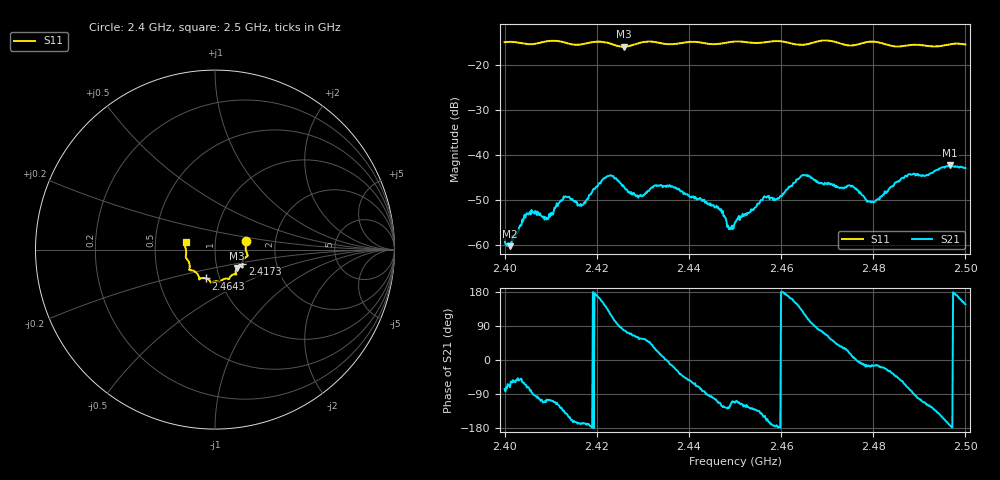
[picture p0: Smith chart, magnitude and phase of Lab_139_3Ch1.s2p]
# Hz S RI R 50
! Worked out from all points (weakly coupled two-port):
!   601 points, 2.4 GHz to 2.5 GHz, reference 50 ohm
!   highest |S21| = -42.37 dB at 2.4967 GHz (marker M1); lowest = -60.4 dB at 2.4012 GHz (marker M2)
!   lowest |S11| = -15.9 dB at 2.4258 GHz (marker M3), VSWR 1.38, Z = 62.3 - j13.2 ohm
!   |S11| at or under -10 dB: start of sweep to end of sweep
!   S12 and S22 are empty: the file has one direction only
!   S11 on the Smith chart (normalised r, x): 2.4 GHz: 1.41, +0.14; 2.4173 GHz: 1.34, -0.23; 2.4643 GHz: 0.86, -0.28; 2.5 GHz: 0.72, +0.06
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2.4e9  0.1732 0.049  0.000258 -0.0011  0 0  0 0
2.401167e9  0.176 0.0444  0.000299 -0.000911  0 0  0 0
2.405333e9  0.1709 0.00987  0.000622 -0.00216  0 0  0 0
2.409167e9  0.1817 -0.0302  -0.000468 -0.00184  0 0  0 0
2.413333e9  0.1715 -0.0425  -0.00266 -0.00217  0 0  0 0
2.416667e9  0.1529 -0.0745  -0.00263 -0.000625  0 0  0 0
2.417333e9  0.1519 -0.0821  -0.0029 -0.000635  0 0  0 0
2.4225e9  0.149 -0.0943  -0.00373 0.00445  0 0  0 0
2.425833e9  0.1219 -0.1035  0.000873 0.00437  0 0  0 0
2.4295e9  0.1165 -0.1345  0.00195 0.00301  0 0  0 0
2.433333e9  0.1127 -0.1375  0.00426 0.00163  0 0  0 0
2.442833e9  0.0709 -0.1629  0.000462 -0.00303  0 0  0 0
2.446833e9  0.0414 -0.1682  -0.000993 -0.00219  0 0  0 0
2.448667e9  0.0325 -0.1767  -0.000901 -0.00119  0 0  0 0
2.45e9  0.0289 -0.1811  -0.000686 -0.00163  0 0  0 0
2.464333e9  -0.0499 -0.1605  -0.00397 0.00422  0 0  0 0
2.466667e9  -0.0758 -0.1591  -0.000689 0.00551  0 0  0 0
2.475333e9  -0.1097 -0.1237  0.00442 0.000903  0 0  0 0
2.479167e9  -0.1418 -0.1145  0.0029 -0.0008  0 0  0 0
2.483333e9  -0.1409 -0.0897  0.00359 -0.00204  0 0  0 0
2.496667e9  -0.1691 0.0247  -0.00756 -0.000935  0 0  0 0
2.5e9  -0.1642 0.0428  -0.00599 0.00389  0 0  0 0
